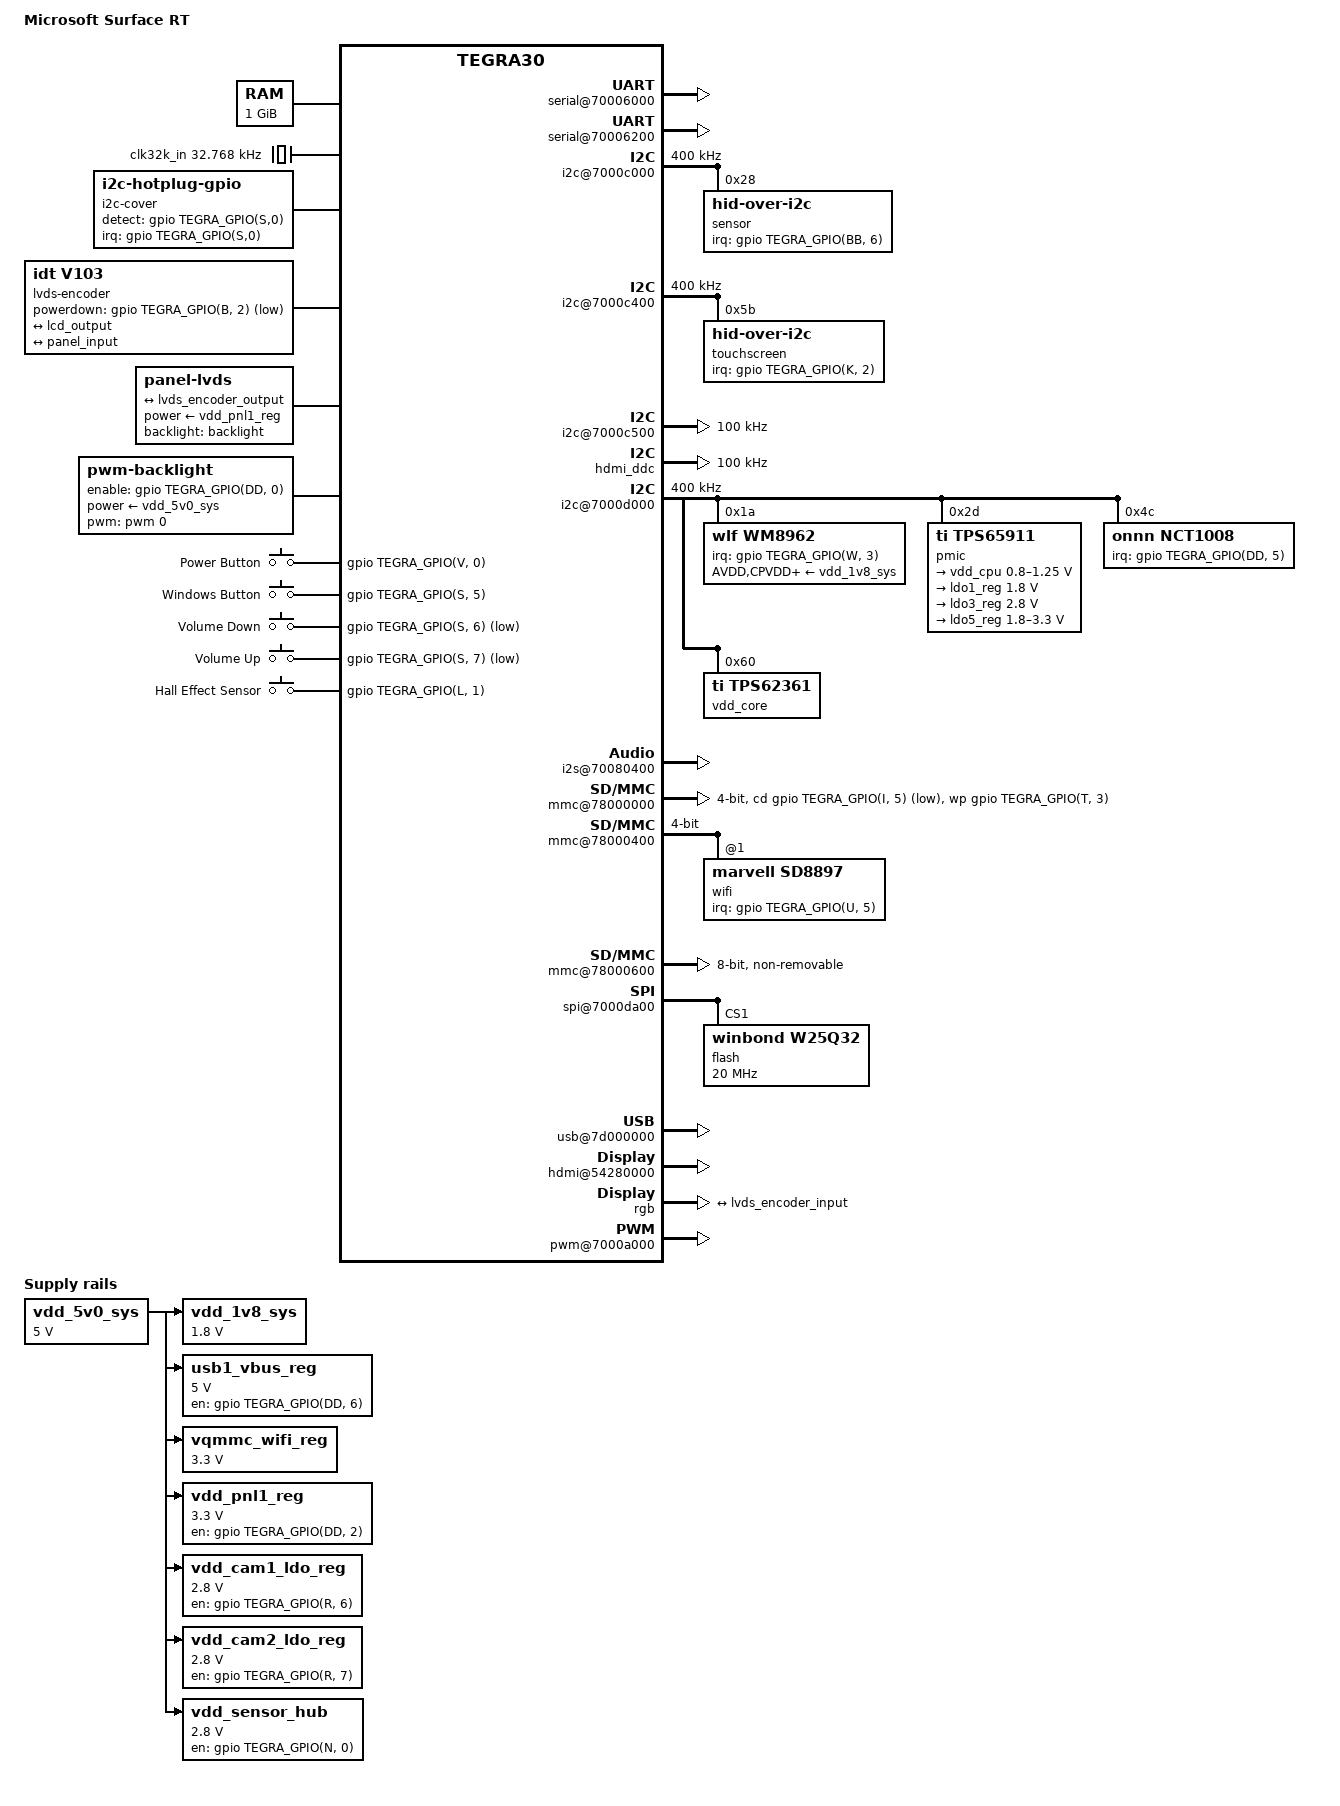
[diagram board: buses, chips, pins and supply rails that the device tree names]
// SPDX-License-Identifier: GPL-2.0

/dts-v1/;

#include "tegra30.dtsi"
#include "tegra30-cpu-opp.dtsi"
#include "tegra30-cpu-opp-microvolt.dtsi"
#include <dt-bindings/input/input.h>

/ {
	model = "Microsoft Surface RT";
	compatible = "microsoft,surface-rt", "nvidia,tegra30";

	aliases {
		mmc0 = &sdmmc4; /* eMMC */
		mmc1 = &sdmmc1; /* uSD slot */
		mmc2 = &sdmmc3; /* WiFi */
		rtc0 = &pmic;
		rtc1 = "/rtc@7000e000";
		serial0 = &uarta; /* console */
		serial1 = &uartc; /* Bluetooth */
	};

	chosen {
		stdout-path = "serial0:115200n8";
	};

	/* 2GB DDR3 Memory */
	memory@80000000 {
		reg = <0x80000000 0x40000000>; // 1 GiB is wrong size but 2GB doesn't work atm
	};

	/* clock from PMIC */
	clk32k_in: clock-32 {
		compatible = "fixed-clock";
		clock-frequency = <32768>;
		#clock-cells = <0>;
	};

	pinmux@70000868 {
		pinctrl-names = "default";
		pinctrl-0 = <&state_default>;

		state_default: pinmux {
			/* HDMI HOTPLUG_DETECT */
			hdmi-interrupt {
				nvidia,pins = "hdmi_int_pn7";
				nvidia,function = "hdmi";
				nvidia,pull = <TEGRA_PIN_PULL_NONE>;
				nvidia,tristate = <TEGRA_PIN_ENABLE>;
				nvidia,enable-input = <TEGRA_PIN_ENABLE>;
			};

			vol-keys {
				nvidia,pins = "kb_row14_ps6", //down
					      "kb_row15_ps7"; //up
				nvidia,pull = <TEGRA_PIN_PULL_NONE>;
				nvidia,tristate = <TEGRA_PIN_ENABLE>;
				nvidia,enable-input = <TEGRA_PIN_ENABLE>;
			};

			backlight-pwm {
				nvidia,pins = "gmi_ad8_ph0";
				nvidia,function = "pwm0";
				nvidia,pull = <TEGRA_PIN_PULL_NONE>;
				nvidia,tristate = <TEGRA_PIN_DISABLE>;
				nvidia,enable-input = <TEGRA_PIN_DISABLE>;
			};

			wifi-interrupt {
				nvidia,pins = "pu5";
				nvidia,pull = <TEGRA_PIN_PULL_DOWN>;
				nvidia,tristate = <TEGRA_PIN_DISABLE>;
				nvidia,enable-input = <TEGRA_PIN_ENABLE>;
			};

			sdmmc1-wp {
				nvidia,pins = "vi_d11_pt3";
				nvidia,pull = <TEGRA_PIN_PULL_NONE>;
				nvidia,tristate = <TEGRA_PIN_DISABLE>;
				nvidia,enable-input = <TEGRA_PIN_ENABLE>;
			};

			charger-interrupt {
				nvidia,pins = "gmi_cs0_n_pj0";
				nvidia,pull = <TEGRA_PIN_PULL_NONE>;
				nvidia,tristate = <TEGRA_PIN_ENABLE>;
				nvidia,enable-input = <TEGRA_PIN_ENABLE>;
			};
		};
	};

	serial@70006000 {
		status = "okay";
	};

	serial@70006200 {
		status = "okay";
		compatible = "nvidia,tegra30-hsuart";

		/* Bluetooth - Marvell 88W8797*/
	};

	/* MS HID - I2C1 */
	i2c@7000c000 {
		status = "okay";
		clock-frequency = <400000>;

		/* Sensor Collection at 0x28 */
		sensor@28 {
			compatible = "hid-over-i2c";
			reg = <0x28>;
			hid-descr-addr = <0x0001>;
			interrupt-parent = <&gpio>;
			interrupts = <TEGRA_GPIO(BB, 6) IRQ_TYPE_LEVEL_LOW>;
		};
		/* EDID at 0x50*/
	};

	i2c-cover {
		compatible = "i2c-hotplug-gpio";

		#address-cells = <1>;
		#size-cells = <0>;

		interrupts-extended = <&gpio TEGRA_GPIO(S,0) IRQ_TYPE_EDGE_BOTH>;
		detect-gpios = <&gpio TEGRA_GPIO(S,0) GPIO_ACTIVE_HIGH>;

		i2c-parent = <&i2c1>;

		cover@0 {
			compatible = "hid-over-i2c";
			reg = <0x00>;
			hid-descr-addr = <0x0041>;
			interrupt-parent = <&gpio>;
			interrupts = <TEGRA_GPIO(O, 5) IRQ_TYPE_LEVEL_LOW>;
		};
	};

	/* Daughter board - I2C2 */
	i2c@7000c400 {
		status = "okay";
		clock-frequency = <400000>;

		/* Atmel Maxtouch, HID over I2C */
		touchscreen@5b {
			compatible = "hid-over-i2c";
			reg = <0x5b>;
			hid-descr-addr = <0x0000>;
			interrupt-parent = <&gpio>;
			interrupts = <TEGRA_GPIO(K, 2) IRQ_TYPE_LEVEL_LOW>;
		};
	};

	/* Cams - I2C3 */
	i2c@7000c500 {
		status = "okay";
		clock-frequency = <100000>;
		/* Cams at 0x10 and 0x72 */
	};

	/* HDMI DisplayDataChannel - I2C4 */
	hdmi_ddc: i2c@7000c700 {
		status = "okay";
		clock-frequency = <100000>;
	};

	/* System bus - I2C5 */
	i2c@7000d000 {
		status = "okay";
		clock-frequency = <400000>;

		wm8962: audio-codec@1a {
			compatible = "wlf,wm8962";
			reg = <0x1a>;
			interrupt-parent = <&gpio>;
			interrupts = <TEGRA_GPIO(W, 3) IRQ_TYPE_LEVEL_HIGH>;

			AVDD-supply  = <&vdd_1v8_sys>;
			CPVDD-supply = <&vdd_1v8_sys>;
			DBVDD-supply = <&vdd_1v8_sys>;
			DCVDD-supply = <&vdd_1v8_sys>;
			MICVDD-supply = <&vdd_1v8_sys>;
			PLLVDD-supply = <&vdd_1v8_sys>;
			SPKVDD1-supply = <&vdd_1v8_sys>;
			SPKVDD2-supply = <&vdd_1v8_sys>;
		};

		pmic: pmic@2d {
			compatible = "ti,tps65911";
			reg = <0x2d>;

			interrupts = <GIC_SPI 86 IRQ_TYPE_LEVEL_HIGH>;
			#interrupt-cells = <2>;
			interrupt-controller;

			ti,system-power-controller;

			#gpio-cells = <2>;
			gpio-controller;

			regulators {
				vdd_cpu: vddctrl {
					regulator-name = "vdd_cpu,vdd_sys";
					regulator-min-microvolt = <800000>;
					regulator-max-microvolt = <1250000>;
					regulator-coupled-with = <&vdd_core>;
					regulator-coupled-max-spread = <300000>;
					regulator-max-step-microvolt = <100000>;
					regulator-always-on;
					ti,regulator-ext-sleep-control = <1>;

					nvidia,tegra-cpu-regulator;
				};

				ldo1_reg: ldo1 {
					regulator-name = "tCoverAndSensorCollection";
					regulator-min-microvolt = <1800000>;
					regulator-max-microvolt = <1800000>;
					regulator-always-on;
					regulator-boot-on;
				};

				ldo3_reg: ldo3 {
					regulator-name = "tCoverPower";
					regulator-min-microvolt = <2800000>;
					regulator-max-microvolt = <2800000>;
					regulator-always-on;
					regulator-boot-on;
				};

				ldo5_reg: ldo5 {
					regulator-name = "vddio_sdmmc";
					regulator-min-microvolt = <1800000>;
					regulator-max-microvolt = <3300000>;
					regulator-always-on;
				};
			};
		};

		nct1008: temperature-sensor@4c {
			compatible = "onnn,nct1008";
			reg = <0x4c>;
			interrupt-parent = <&gpio>;
			interrupts = <TEGRA_GPIO(DD, 5) IRQ_TYPE_EDGE_FALLING>;
			#thermal-sensor-cells = <1>;
		};

		vdd_core: core-regulator@60 {
			compatible = "ti,tps62361";
			reg = <0x60>;

			regulator-name = "tps62361-vout";
			regulator-min-microvolt = <500000>;
			regulator-max-microvolt = <1350000>;
			regulator-coupled-with = <&vdd_cpu>;
			regulator-coupled-max-spread = <300000>;
			regulator-max-step-microvolt = <100000>;
			regulator-boot-on;
			regulator-always-on;
			ti,enable-vout-discharge;
			ti,vsel0-state-high;
			ti,vsel1-state-high;

			nvidia,tegra-core-regulator;
		};
	};

	pmc@7000e400 {
		status = "okay";
		nvidia,invert-interrupt;
		nvidia,suspend-mode = <1>;
		nvidia,cpu-pwr-good-time = <2000>;
		nvidia,cpu-pwr-off-time = <200>;
		nvidia,core-pwr-good-time = <3845 3845>;
		nvidia,core-pwr-off-time = <0>;
		nvidia,core-power-req-active-high;
		nvidia,sys-clock-req-active-high;

		core-supply = <&vdd_core>;

		i2c-thermtrip {
			nvidia,i2c-controller-id = <4>;
			nvidia,bus-addr = <0x2d>;
			nvidia,reg-addr = <0x3f>;
			nvidia,reg-data = <0x80>;
		};
	};

	hda@70030000 {
		status = "okay";
	};

	ahub@70080000 {
		i2s@70080400 {
			status = "okay";
		};
	};

	/* SD CARD - SDMMC-1 */
	mmc@78000000 {
		status = "okay";
		vqmmc-supply = <&ldo5_reg>;
		bus-width = <4>;
		power-gpios = <&gpio TEGRA_GPIO(D, 7) GPIO_ACTIVE_HIGH>;
		cd-gpios = <&gpio TEGRA_GPIO(I, 5) GPIO_ACTIVE_LOW>;
		wp-gpios = <&gpio TEGRA_GPIO(T, 3) GPIO_ACTIVE_HIGH>;
	};

	/* Wifi - SDMMC-3 */
	mmc@78000400 {
		#address-cells = <1>;
		#size-cells = <0>;

		status = "okay";

		bus-width = <4>;
		cap-power-off-card;
		keep-power-in-suspend;
		max-frequency = <100000000>;

		assigned-clocks = <&tegra_car TEGRA30_CLK_SDMMC3>;
		assigned-clock-parents = <&tegra_car TEGRA30_CLK_PLL_C>;
		assigned-clock-rates = <100000000>;

		mmc-pwrseq = <&mrvl_wifi_pwrseq>;
		vqmmc-supply = <&vqmmc_wifi_reg>;

		/* Marvell 88W8797 WiFi */
		wifi@1 {
			compatible = "marvell,sd8897";
			reg = <1>;
			interrupt-parent = <&gpio>;
			interrupts = <TEGRA_GPIO(U, 5) IRQ_TYPE_LEVEL_HIGH>;
		};
	};

	mrvl_wifi_pwrseq: wifi-pwrseq {
		compatible = "mmc-pwrseq-simple";

		clocks = <&tegra_pmc TEGRA_PMC_CLK_BLINK>;
		clock-names = "ext_clock";

		post-power-on-delay-ms = <300>;
		power-off-delay-us = <300>;
	};

	/* internal 32/64GB eMMC - SDMMC-4 */
	mmc@78000600 {
		status = "okay";
		bus-width = <8>;
		non-removable;
	};

	spi@7000da00 {
		status = "okay";
		spi-max-frequency = <25000000>;

		/* Boot flash - OTP read only */
		flash@1 {
			compatible = "winbond,w25q32", "jedec,spi-nor";
			reg = <1>;
			spi-max-frequency = <20000000>;
		};
	};

	usb@7d000000 {
		status = "okay";
	};

	usb-phy@7d000000 {
		vbus-supply = <&usb1_vbus_reg>;
		status = "okay";
	};

	host1x@50000000 {
		hdmi@54280000 {
			status = "okay";
			nvidia,ddc-i2c-bus = <&hdmi_ddc>;
			nvidia,hpd-gpio = <&gpio TEGRA_GPIO(N, 7) GPIO_ACTIVE_HIGH>;
		};

		dc@54200000 {
			rgb {
				status = "okay";

				port@0 {
					lcd_output: endpoint {
						remote-endpoint = <&lvds_encoder_input>;
						bus-width = <24>;
					};
				};
			};
		};
	};

	lvds-encoder {
		compatible = "idt,v103", "lvds-encoder";

		powerdown-gpios = <&gpio TEGRA_GPIO(B, 2) GPIO_ACTIVE_LOW>;

		ports {
			#address-cells = <1>;
			#size-cells = <0>;

			port@0 {
				reg = <0>;

				lvds_encoder_input: endpoint {
					remote-endpoint = <&lcd_output>;
				};
			};

			port@1 {
				reg = <1>;

				lvds_encoder_output: endpoint {
					remote-endpoint = <&panel_input>;
				};
			};
		};
	};

	panel: display-panel {
		compatible = "panel-lvds";

		power-supply = <&vdd_pnl1_reg>;
		backlight = <&backlight>;

		width-mm = <235>;
		height-mm = <132>;
		rotation = <0>;

		data-mapping = "jeida-24";

		panel-timing {
			clock-frequency = <71980000>;

			hactive = <1366>;
			vactive = <768>;

			hfront-porch = <56>;
			hsync-len = <14>;
			hback-porch = <106>;

			vfront-porch = <3>;
			vsync-len = <1>;
			vback-porch = <6>;
		};

		port {
			panel_input: endpoint {
				remote-endpoint = <&lvds_encoder_output>;
			};
		};
	};

	backlight: backlight {
		compatible = "pwm-backlight";

		enable-gpios = <&gpio TEGRA_GPIO(DD, 0) GPIO_ACTIVE_HIGH>;
		power-supply = <&vdd_5v0_sys>;
		pwms = <&pwm 0 50000>;

		brightness-levels = <1 255>;
		num-interpolated-steps = <254>;
		default-brightness-level = <128>;
	};

	pwm@7000a000 {
		status = "okay";
	};

	gpio-keys {
		compatible = "gpio-keys";

		label = "GPIO Buttons";

		power {
			label = "Power Button";
			gpios = <&gpio TEGRA_GPIO(V, 0) GPIO_ACTIVE_HIGH>;
			linux,code = <KEY_POWER>;
			debounce-interval = <10>;
			wakeup-source;
		};

		windows-button {
			label = "Windows Button";
			gpios = <&gpio TEGRA_GPIO(S, 5) GPIO_ACTIVE_HIGH>;
			linux,code = <KEY_LEFTMETA>;
			debounce-interval = <10>;
			wakeup-source;
		};

		volume-down {
			label = "Volume Down";
			gpios = <&gpio TEGRA_GPIO(S, 6) GPIO_ACTIVE_LOW>;
			linux,code = <KEY_VOLUMEDOWN>;
			debounce-interval = <10>;
		};

		volume-up {
			label = "Volume Up";
			gpios = <&gpio TEGRA_GPIO(S, 7) GPIO_ACTIVE_LOW>;
			linux,code = <KEY_VOLUMEUP>;
			debounce-interval = <10>;
		};
	};

	gpio-hall-sensor {
		compatible = "gpio-keys";

		label = "GPIO Hall Effect Sensor";

		hall-sensor {
			label = "Hall Effect Sensor";
			gpios = <&gpio TEGRA_GPIO(L, 1) GPIO_ACTIVE_HIGH>;
			linux,input-type = <EV_SW>;
			linux,code = <SW_LID>;
			linux,can-disable;
			wakeup-source;
		};
	};

	cpus {
		cpu0: cpu@0 {
			cpu-supply = <&vdd_cpu>;
			operating-points-v2 = <&cpu0_opp_table>;
		};

		cpu1: cpu@1 {
			cpu-supply = <&vdd_cpu>;
			operating-points-v2 = <&cpu0_opp_table>;
		};

		cpu2: cpu@2 {
			cpu-supply = <&vdd_cpu>;
			operating-points-v2 = <&cpu0_opp_table>;
		};

		cpu3: cpu@3 {
			cpu-supply = <&vdd_cpu>;
			operating-points-v2 = <&cpu0_opp_table>;
		};
	};

	vdd_5v0_sys: regulator-5v0 {
		compatible = "regulator-fixed";
		regulator-name = "vdd_5v0";
		regulator-min-microvolt = <5000000>;
		regulator-max-microvolt = <5000000>;
		regulator-always-on;
	};

	vdd_1v8_sys: regulator-1v8 {
		compatible = "regulator-fixed";
		regulator-name = "vdd_1v8_vs";
		regulator-min-microvolt = <1800000>;
		regulator-max-microvolt = <1800000>;
		regulator-always-on;
		vin-supply = <&vdd_5v0_sys>;
	};

	usb1_vbus_reg: regulator-usb1 {
		compatible = "regulator-fixed";
		regulator-name = "usb1_vbus";
		regulator-min-microvolt = <5000000>;
		regulator-max-microvolt = <5000000>;
		enable-active-high;
		gpio = <&gpio TEGRA_GPIO(DD, 6) GPIO_ACTIVE_HIGH>;
		gpio-open-drain;
		vin-supply = <&vdd_5v0_sys>;
	};

	vqmmc_wifi_reg: vddio-wifi {
		compatible = "regulator-fixed";
		regulator-name = "vqmmc_wifi";
		regulator-min-microvolt = <3300000>;
		regulator-max-microvolt = <3300000>;
		regulator-boot-on;
		regulator-always-on;
		vin-supply = <&vdd_5v0_sys>;
	};

	vdd_pnl1_reg: regulator-panel {
		compatible = "regulator-fixed";
		regulator-name = "vdd_pnl1";
		regulator-min-microvolt = <3300000>;
		regulator-max-microvolt = <3300000>;
		regulator-boot-on;
		regulator-always-on;
		gpio = <&gpio TEGRA_GPIO(DD, 2) GPIO_ACTIVE_HIGH>;
		enable-active-high;
		vin-supply = <&vdd_5v0_sys>;
	};

	vdd_cam1_ldo_reg: regulator-cam1 {
		compatible = "regulator-fixed";
		regulator-name = "vdd_cam1_ldo";
		regulator-min-microvolt = <2800000>;
		regulator-max-microvolt = <2800000>;
		enable-active-high;
		gpio = <&gpio TEGRA_GPIO(R, 6) GPIO_ACTIVE_HIGH>;
		vin-supply = <&vdd_5v0_sys>;
	};

	vdd_cam2_ldo_reg: regulator-cam2 {
		compatible = "regulator-fixed";
		regulator-name = "vdd_cam2_ldo";
		regulator-min-microvolt = <2800000>;
		regulator-max-microvolt = <2800000>;
		enable-active-high;
		gpio = <&gpio TEGRA_GPIO(R, 7) GPIO_ACTIVE_HIGH>;
		vin-supply = <&vdd_5v0_sys>;
	};

	regulator-sensors {
		compatible = "regulator-fixed";
		regulator-name = "vdd_sensor_hub";
		regulator-min-microvolt = <2800000>;
		regulator-max-microvolt = <2800000>;
		enable-active-high;
		regulator-boot-on;
		regulator-always-on;
		gpio = <&gpio TEGRA_GPIO(N, 0) GPIO_ACTIVE_HIGH>;
		vin-supply = <&vdd_5v0_sys>;
	};
};
